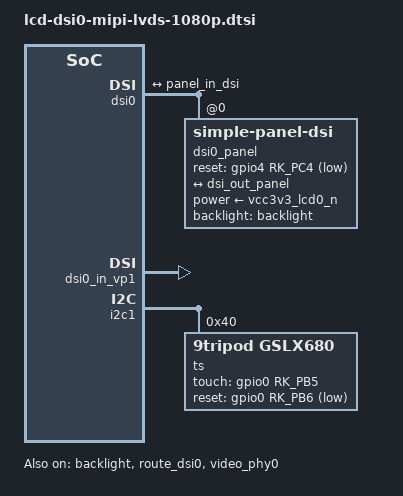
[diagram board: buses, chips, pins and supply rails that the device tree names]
/*
 * mipi_dphy0 needs to be enabled
 * when dsi0 is enabled
 */
&dsi0 {
	status = "okay";
	//rockchip,lane-rate = <1000>;
	dsi0_panel: panel@0 {
		status = "okay";
		compatible = "simple-panel-dsi";
		reg = <0>;
		power-supply = <&vcc3v3_lcd0_n>;
		reset-gpios = <&gpio4 RK_PC4 GPIO_ACTIVE_LOW>;
		backlight = <&backlight>;
		reset-delay-ms = <120>;
		init-delay-ms = <120>;
		enable-delay-ms = <120>;
		prepare-delay-ms = <120>;
		unprepare-delay-ms = <120>;
		disable-delay-ms = <120>;
		dsi,flags = <(MIPI_DSI_MODE_VIDEO | MIPI_DSI_MODE_VIDEO_BURST |
			MIPI_DSI_MODE_LPM | MIPI_DSI_MODE_EOT_PACKET)>;
		dsi,format = <MIPI_DSI_FMT_RGB888>;
		dsi,lanes  = <4>;
		panel-init-sequence = [
			23 00 02 27 AA
			23 00 02 48 02
			23 00 02 B6 20
			23 00 02 01 80
			23 00 02 02 38
			23 00 02 03 47
			23 00 02 04 58
			23 00 02 05 2C
			23 00 02 06 94
			23 00 02 07 00
			23 00 02 08 04
			23 00 02 09 05
			23 00 02 0A 24
			23 00 02 0B 02
			23 00 02 0C 52
			23 00 02 0D 01
			23 00 02 0E 80
			23 00 02 0F 20
			23 00 02 10 20
			23 00 02 11 03
			23 00 02 12 1B
			23 00 02 13 63
			23 00 02 14 01
			23 00 02 15 23
			23 00 02 16 40
			23 00 02 17 00
			23 00 02 18 01
			23 00 02 19 23
			23 00 02 1A 40
			23 00 02 1B 00
			23 00 02 1E 46
			23 00 02 51 30
			23 00 02 1F 10
			23 00 02 2A 01
			05 78 01 11
			05 00 01 29
		];

		panel-exit-sequence = [
			05 32 01 28
			05 78 01 10
		];

		disp_timings0: display-timings {
			native-mode = <&dsi1_timing0>;
			dsi1_timing0: timing0 {
				clock-frequency = <148000000>;
				hactive = <1920>;
				vactive = <1080>;
				hfront-porch = <88>;
				hsync-len = <44>;
				hback-porch = <148>;
				vfront-porch = <4>;
				vsync-len = <5>;
				vback-porch = <36>;
				hsync-active = <0>;
				vsync-active = <0>;
				de-active = <1>;
				pixelclk-active = <0>;
			};
		};

		ports {
			#address-cells = <1>;
			#size-cells = <0>;

			port@0 {
				reg = <0>;
				panel_in_dsi: endpoint {
					remote-endpoint = <&dsi_out_panel>;
				};
			};
		};
	};

	ports {
		#address-cells = <1>;
		#size-cells = <0>;

		port@1 {
			reg = <1>;
			dsi_out_panel: endpoint {
				remote-endpoint = <&panel_in_dsi>;
			};
		};
	};

};

&backlight {
	status = "okay";
	//enable-gpios = <&gpio0 RK_PC1 GPIO_ACTIVE_HIGH>;
};

&route_dsi0 {
	status = "okay";
	connect = <&vp1_out_dsi0>;
};

&dsi0_in_vp0 {
	status = "disabled";
};

&dsi0_in_vp1 {
	status = "okay";
};

&video_phy0 {
	status = "okay";
};

&i2c1 {
	status = "okay";

	ts@40 {
		compatible = "9tripod,gslx680";
		reg = <0x40>;
		touch-gpio = <&gpio0 RK_PB5 IRQ_TYPE_EDGE_RISING>;
		reset-gpio = <&gpio0 RK_PB6 GPIO_ACTIVE_LOW>;
		max-x = <1024>;
		max-y = <600>;
	};
};

